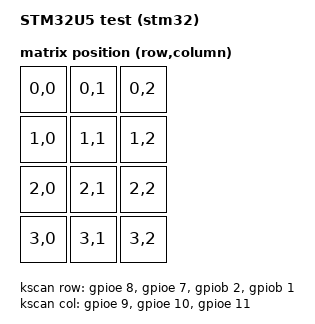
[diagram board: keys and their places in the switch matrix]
/*
 * Copyright (c) 2020 The ZMK Contributors
 *
 * SPDX-License-Identifier: MIT
 */

/dts-v1/;

#include <mem.h>
// #include <st/u5/stm32u575vg.dtsi>
#include "stm32u575vg.dtsi"
#include <st/u5/stm32u575vgtx-pinctrl.dtsi>
#include "arduino_r3_connector.dtsi"
#include <zephyr/dt-bindings/input/input-event-codes.h>

#include <dt-bindings/zmk/matrix_transform.h>

/ {
	model = "STM32U5 test (stm32)";
	compatible = "st,stm32u575vg", "st,stm32u5";

	chosen {
		zephyr,sram = &sram0;
		zephyr,flash = &flash0;
		zmk,kscan = &kscan;
		zmk,matrix_transform = &transform;
		zephyr,console = &usart1;
		/* TODO: Enable once we support the IC for underglow
		zmk,underglow = &led_strip;
		 */
	};

	transform: transform {
		compatible = "zmk,matrix-transform";
		columns = <3>;
		rows = <4>;
		map = <
			RC(0, 0) RC(0, 1) RC(0, 2)
			RC(1, 0) RC(1, 1) RC(1, 2)
			RC(2, 0) RC(2, 1) RC(2, 2)
			RC(3, 0) RC(3, 1) RC(3, 2)
		>;
	};

	kscan: kscan {
		compatible = "zmk,kscan-gpio-matrix";
		diode-direction = "col2row";
		row-gpios
		= <&gpioe 8 (GPIO_ACTIVE_HIGH | GPIO_PULL_DOWN)>
		, <&gpioe 7 (GPIO_ACTIVE_HIGH | GPIO_PULL_DOWN)>
		, <&gpiob 2 (GPIO_ACTIVE_HIGH | GPIO_PULL_DOWN)>
		, <&gpiob 1 (GPIO_ACTIVE_HIGH | GPIO_PULL_DOWN)>
		;
		col-gpios
		= <&gpioe 9 GPIO_ACTIVE_HIGH>
		, <&gpioe 10 GPIO_ACTIVE_HIGH>
		, <&gpioe 11 GPIO_ACTIVE_HIGH>
		;
	};
};


// &clk_hsi48 {
// 	status = "okay";
// };

&clk_lse {
	status = "okay";
};
&clk_hse {
	clock-frequency = <DT_FREQ_M(48)>;
};

&clk_msis {
	status = "okay";
	msi-range = <4>;
	msi-pll-mode;
};

&pll1 {
	div-m = <1>;
	mul-n = <80>;
	div-q = <2>;
	div-r = <2>;
	clocks = <&clk_msis>;
	status = "okay";
};

&rcc {
	clocks = <&pll1>;
	clock-frequency = <DT_FREQ_M(160)>;
	ahb-prescaler = <1>;
	apb1-prescaler = <1>;
	apb2-prescaler = <1>;
	apb3-prescaler = <1>;
};



&usart1 {
	pinctrl-0 = <&usart1_tx_pa9 &usart1_rx_pa10>;
	pinctrl-names = "default";
	current-speed = <115200>;
	status = "okay";
};

&i2c1 {
	pinctrl-0 = <&i2c1_scl_pb8 &i2c1_sda_pb9>;
	pinctrl-names = "default";
	status = "okay";
	clock-frequency = <I2C_BITRATE_FAST>;
};

zephyr_udc0: &usbotg_fs {
	pinctrl-0 = <&usb_otg_fs_dm_pa11 &usb_otg_fs_dp_pa12>;
	pinctrl-names = "default";
	status = "okay";
};

&spi1 {
	pinctrl-0 = <&spi1_nss_pe12 &spi1_sck_pe13
				 &spi1_miso_pe14 &spi1_mosi_pe15>;
	pinctrl-names = "default";
	status = "okay";
};
//&spi1 {
//	pinctrl-0 = <&spi1_nss_pa4 &spi1_sck_pa5
//				 &spi1_miso_pa6 &spi1_mosi_pa7>;
//	pinctrl-names = "default";
//	status = "okay";
//};

// &dac1 {
// 	/* CAUTION: DAC on PA4 may conflict with SPI1 NSS on same pin */
// 	pinctrl-0 = <&dac1_out1_pa4>;
// 	pinctrl-names = "default";
// 	status = "okay";
// };

// &adc1 {
// 	pinctrl-0 = <&adc1_in1_pc0>;
// 	pinctrl-names = "default";
// 	st,adc-clock-source = <ASYNC>;
// 	st,adc-prescaler = <4>;
// 	status = "okay";
// };

// &adc4 {
// 	pinctrl-0 = <&adc4_in18_pb0>;
// 	pinctrl-names = "default";
// 	st,adc-clock-source = <ASYNC>;
// 	st,adc-prescaler = <4>;
// 	status = "okay";
// };

&timers3 {
	st,prescaler = <10000>;
	status = "okay";

	pwm3: pwm {
		pinctrl-0 = <&tim3_ch2_pc7>;
		pinctrl-names = "default";
		status = "okay";
	};
};

&timers4 {
	st,prescaler = <10000>;
	status = "okay";

	pwm4: pwm {
		pinctrl-0 = <&tim4_ch2_pb7>;
		pinctrl-names = "default";
		status = "okay";
	};
};

// &iwdg {
// 	status = "okay";
// };

// &rng {
// 	status = "okay";
// };

// &fdcan1 {
// 	clocks = <&rcc STM32_CLOCK_BUS_APB1_2 0x00000200>,
// 		 <&rcc STM32_SRC_PLL1_Q FDCAN1_SEL(1)>;
// 	pinctrl-0 = <&fdcan1_rx_pd0 &fdcan1_tx_pd1>;
// 	pinctrl-names = "default";
// 	bus-speed = <125000>;
// 	bus-speed-data = <1000000>;
// 	status = "okay";
// };

// &vref1 {
// 	status = "okay";
// };

// &vbat4 {
// 	status = "okay";
// };

// &usb_otg_fs {
//     status = "okay";
//     dr_mode = "device";  // Set to "host" if using USB in host mode
//     pinctrl-0 = <&usb_otg_fs_pins>;
//     pinctrl-names = "default";
// };

&flash0 {
	/*
	 * For more information, see:
	 * http: //docs.zephyrproject.org/latest/guides/dts/index.html#flash-partitions
	 */
	partitions {
		compatible = "fixed-partitions";
		#address-cells = <1>;
		#size-cells = <1>;

		/* Set 6Kb of storage at the end of the 128Kb of flash */
		storage_partition: partition@3e800 {
			label = "storage";
			reg = <0x0001e800 0x00001800>;
		};
	};
};



// zephyr_udc0: &usb {
// 	status = "okay";

// 	pinctrl-0 = <&usb_dm_pa11 &usb_dp_pa12>;
// 	pinctrl-names = "default";

// 	num-bidir-endpoints = <6>;

// 	cdc_acm_uart: cdc_acm_uart {
// 		compatible = "zephyr,cdc-acm-uart";
// 		label = "CDC_ACM_0";
// 	};
// };

// &clk_hsi {
// 	status = "okay";
// };

// &clk_hsi48 {
// 	status = "okay";
// };

// &pll {
// 	prediv = <1>;
// 	mul = <6>;
// 	clocks = <&clk_hsi>;
// 	status = "okay";
// };

// &rcc {
// 	clocks = <&pll>;
// 	clock-frequency = <DT_FREQ_M(48)>;
// 	ahb-prescaler = <1>;
// 	apb1-prescaler = <1>;
// };


// &rtc {
// 	status = "okay";
// };

// &lpuart1 {
// 	pinctrl-0 = <&lpuart1_tx_pg7 &lpuart1_rx_pg8>;
// 	pinctrl-names = "default";
// 	current-speed = <115200>;
// 	status = "okay";
// };
// &i2c2 {
// 	pinctrl-0 = <&i2c2_scl_pf1 &i2c2_sda_pf0>;
// 	pinctrl-names = "default";
// 	status = "okay";
// 	clock-frequency = <I2C_BITRATE_FAST>;
// };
